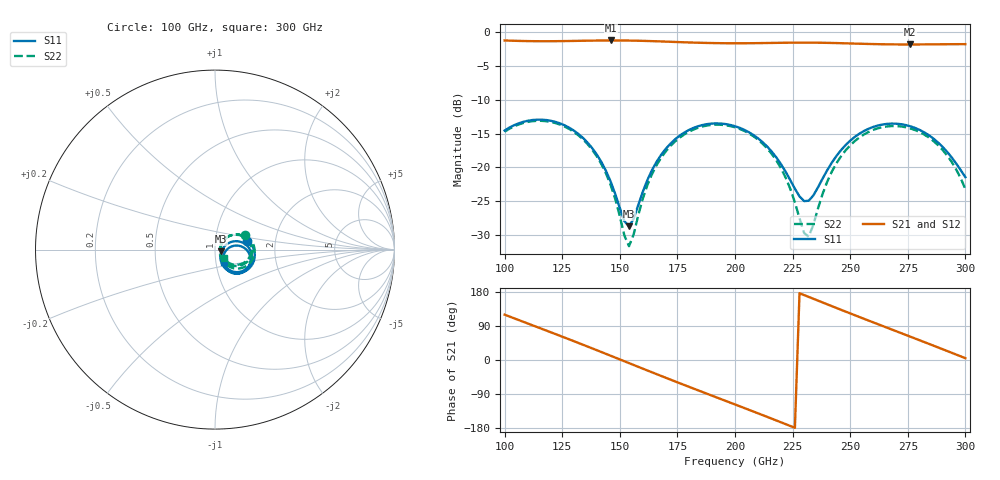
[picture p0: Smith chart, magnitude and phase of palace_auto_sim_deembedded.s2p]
! Created with skrf 1.11.0 (http://scikit-rf.org).
# GHz S DB R 50.0
!freq dBS11 angS11 dBS21 angS21 dBS12 angS12 dBS22 angS22
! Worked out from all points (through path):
!   101 points, 100 GHz to 300 GHz, reference 50 ohm
!   highest |S21| = -1.21 dB at 146 GHz (marker M1); lowest = -1.8 dB at 276 GHz (marker M2)
!   group delay of S21, straight-line fit = 6.61 ps
!   lowest |S11| = -28.7 dB at 154 GHz (marker M3), VSWR 1.08, Z = 53.6 - j1.11 ohm
!   |S11| at or under -10 dB: start of sweep to end of sweep
!   |S22| runs from -31.7 to -13.1 dB; largest |S21 - S12| = 1e-13
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100  -14.54 15.7  -1.21 119.7  -1.21 119.7  -14.72 25.6
116  -12.93 -16.4  -1.32 82.6  -1.32 82.6  -13.10 -5.8
124  -13.48 -32.6  -1.31 64.0  -1.31 64.0  -13.66 -21.8
134  -15.63 -51.6  -1.25 40.3  -1.25 40.3  -15.84 -41.0
146  -22.08 -63.6  -1.21 11.3  -1.21 11.3  -22.57 -56.1
154  -28.72 -16.4  -1.22 -8.2  -1.22 -8.2  -31.66 -3.2
162  -21.84 25.6  -1.29 -27.7  -1.29 -27.7  -22.59 47.3
168  -18.11 22.2  -1.35 -42.2  -1.35 -42.2  -18.54 42.2
184  -13.90 -4.4  -1.54 -80.1  -1.54 -80.1  -14.13 14.0
200  -13.90 -33.4  -1.62 -117.3  -1.62 -117.3  -14.06 -16.3
218  -18.55 -57.4  -1.56 -159.7  -1.56 -159.7  -18.99 -46.4
224  -21.88 -54.5  -1.54 -174.1  -1.54 -174.1  -23.18 -49.2
230  -24.98 -29.0  -1.53 171.3  -1.53 171.3  -29.72 -20.1
232  -24.93 -15.8  -1.53 166.5  -1.53 166.5  -30.24 6.6
234  -24.15 -4.3  -1.53 161.6  -1.53 161.6  -28.50 28.9
240  -20.43 10.9  -1.56 147.0  -1.56 147.0  -22.14 46.5
248  -16.70 7.3  -1.63 127.8  -1.63 127.8  -17.48 38.6
258  -14.27 -7.4  -1.73 104.0  -1.73 104.0  -14.75 20.9
268  -13.52 -24.7  -1.79 80.5  -1.79 80.5  -13.87 1.6
276  -13.90 -38.3  -1.80 61.8  -1.80 61.8  -14.22 -13.8
290  -16.92 -57.3  -1.77 28.7  -1.77 28.7  -17.37 -38.3
300  -21.45 -53.9  -1.75 4.8  -1.75 4.8  -23.20 -44.6
